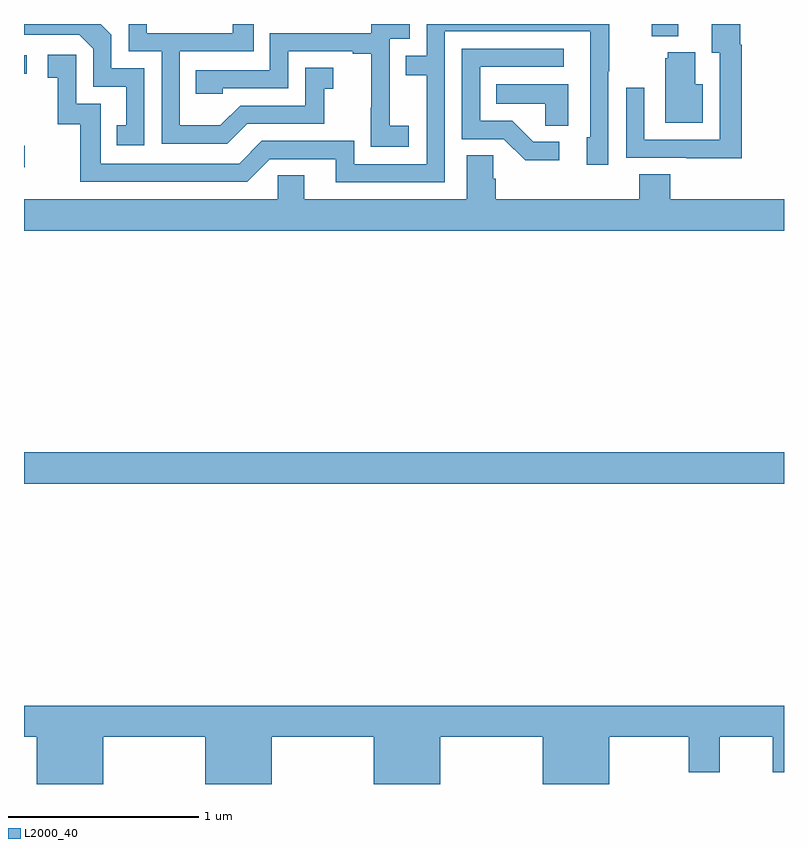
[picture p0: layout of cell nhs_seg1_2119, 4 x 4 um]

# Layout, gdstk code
import gdstk
lib = gdstk.Library(unit=1e-6, precision=1e-09)
def R(c, l, rs):  # rectangles x0, y0, x1, y1
    for r in rs: c.add(gdstk.rectangle(r[:2], r[2:], *l))
def P(c, l, *ps):  # polygons
    for p in ps: c.add(gdstk.Polygon(p, *l))
L2000_40 = (2000, 40)

nhs_seg1_2119 = lib.new_cell('nhs_seg1_2119')
R(nhs_seg1_2119, L2000_40, [(227,503.78,231,503.944), (227,505.446,227.004,505.558), (227,505.938,227.014,506.034), (230.303,506.135,230.443,506.199)])
P(nhs_seg1_2119, L2000_40, [(229.215,506.16),(229.98,506.16),(229.98,505.602),(229.961,505.602),(229.961,505.458),(230.076,505.458),(230.076,505.951),(230.079,505.951),(230.079,506.199),(229.119,506.199),(229.119,506.031),(229.009,506.031),(229.009,505.93),(229.119,505.93),(229.119,505.461),(228.738,505.461),(228.738,505.584),(228.252,505.584),(228.132,505.464),(227.403,505.464),(227.403,505.779),(227.274,505.779),(227.274,506.038),(227.124,506.038),(227.124,505.917),(227.177,505.917),(227.177,505.671),(227.295,505.671),(227.295,505.368),(228.174,505.368),(228.294,505.488),(228.641,505.488),(228.641,505.365),(229.215,505.365)],
  [(230.777,506.09),(230.77,506.09),(230.77,506.199),(230.621,506.199),(230.621,506.047),(230.661,506.047),(230.661,505.59),(230.265,505.59),(230.265,505.864),(230.169,505.864),(230.169,505.494),(230.485,505.494),(230.485,505.493),(230.777,505.493)],
  [(228.175,505.674),(228.579,505.674),(228.579,505.859),(228.628,505.859),(228.628,505.969),(228.48,505.969),(228.48,505.77),(228.138,505.77),(228.034,505.666),(227.82,505.666),(227.82,506.055),(228.209,506.055),(228.209,506.199),(228.098,506.199),(228.098,506.151),(227.647,506.151),(227.647,506.199),(227.55,506.199),(227.55,506.055),(227.724,506.055),(227.724,505.569),(228.07,505.569)],
  [(227.634,505.965),(227.46,505.965),(227.46,506.142),(227.403,506.199),(227,506.199),(227,506.142),(227.292,506.142),(227.364,506.07),(227.364,505.869),(227.537,505.869),(227.537,505.665),(227.488,505.665),(227.488,505.56),(227.634,505.56)],
  [(229.024,505.663),(228.926,505.663),(228.926,505.892),(228.924,505.892),(228.924,506.121),(229.029,506.121),(229.029,506.199),(228.828,506.199),(228.828,506.151),(228.294,506.151),(228.294,505.956),(227.905,505.956),(227.905,505.833),(228.045,505.833),(228.045,505.86),(228.39,505.86),(228.39,506.055),(228.731,506.055),(228.731,506.043),(228.827,506.043),(228.827,505.759),(228.826,505.759),(228.826,505.553),(229.024,505.553)],
  [(229.816,505.578),(229.681,505.578),(229.57,505.689),(229.401,505.689),(229.401,505.974),(229.84,505.974),(229.84,506.07),(229.305,506.07),(229.305,505.593),(229.524,505.593),(229.637,505.481),(229.816,505.481)],
  [(230.572,505.882),(230.533,505.882),(230.533,506.05),(230.387,506.05),(230.387,506.019),(230.375,506.019),(230.375,505.679),(230.572,505.679)],
  [(229.864,505.882),(229.486,505.882),(229.486,505.778),(229.743,505.778),(229.743,505.663),(229.864,505.663)],
  [(231,505.276),(230.402,505.276),(230.402,505.409),(230.237,505.409),(230.237,505.276),(229.484,505.276),(229.484,505.385),(229.47,505.385),(229.47,505.508),(229.331,505.508),(229.331,505.276),(228.475,505.276),(228.475,505.403),(228.336,505.403),(228.336,505.276),(227,505.276),(227,505.112),(231,505.112)],
  [(227.416,502.448),(227.954,502.448),(227.954,502.199),(228.304,502.199),(228.304,502.448),(228.842,502.448),(228.842,502.199),(229.192,502.199),(229.192,502.448),(229.73,502.448),(229.73,502.199),(230.08,502.199),(230.08,502.448),(230.498,502.448),(230.498,502.26),(230.662,502.26),(230.662,502.448),(230.942,502.448),(230.942,502.26),(231,502.26),(231,502.612),(227,502.612),(227,502.448),(227.066,502.448),(227.066,502.199),(227.416,502.199)])

lib.write_gds('nhs_seg1_2119.gds')
